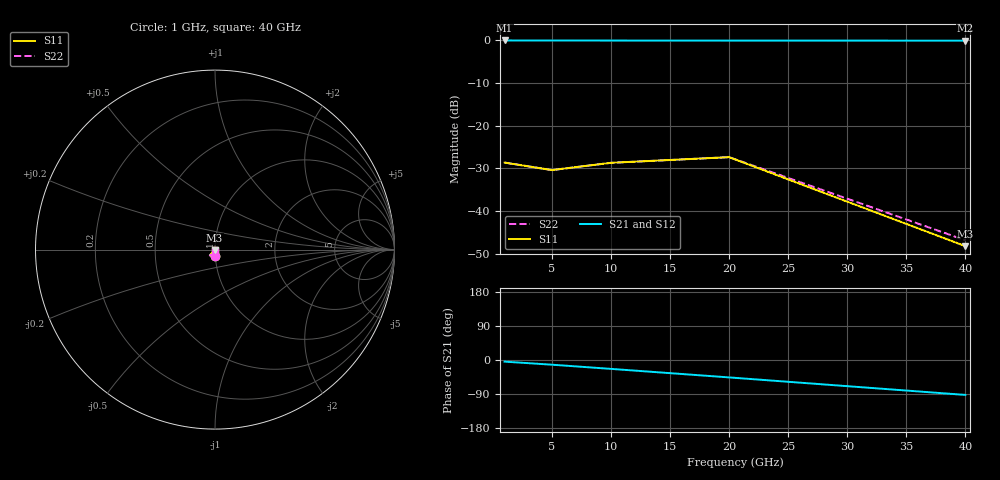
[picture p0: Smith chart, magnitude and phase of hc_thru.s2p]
! Generated by circuitRF - EM: Palace
! circuitRF-EM setup: hc_thru Palace
! circuitRF-EM layout: hc_thru.c3d
! circuitRF-EM written: 2026-11-04 16:30:50Z
! circuitRF-EM geometry: 47b0e7a829957d10
! circuitRF-EM mesh: be36879526fbbc1a
! circuitRF-EM ports: 15523109cf5d711b
! circuitRF-EM model: Palace 0.18.1 (0dc74cd, schema 1-7-0)
! Port[1] = P1
! Port[2] = P2
! circuitRF-EM port 1: 'port/1' from 'airbox/zmin' to 'metal1', wave (mode 1), 50 Ohm: Palace's S is referred to the mode's own impedance Z_PV, renormalised here to 50 Ohm; reference plane 0 um into the structure from the port face
! circuitRF-EM port 2: 'port/2' from 'airbox/zmin' to 'metal1', wave (mode 1), 50 Ohm: Palace's S is referred to the mode's own impedance Z_PV, renormalised here to 50 Ohm; reference plane 0 um into the structure from the port face
! circuitRF-EM 3D mesh: 10,726 elements initially, 10,726 finally, 0 adaptive pass(es), element order 2
! circuitRF-EM 3D operating temperature: 20 C
! circuitRF-EM 3D run: preset Standard; 10726 -> 10726 tetrahedra; 75942 unknowns; 0 refinement pass(es); 5 frequency sample(s)
! circuitRF-EM 3D run cost: wall 54 s; Palace peak memory 1.7 GB
! circuitRF-EM 3D DC row: circuitRF conduction solve of the conductors, 4,264 elements, 0.5 s; ports as terminal pairs
! circuitRF-EM: re-running the EM setup rewrites this file. If circuitRF reports it as stale, the layout's cross-section changed after this file was written.
# GHz S RI R 50
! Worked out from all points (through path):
!   5 points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, 1 GHz to 40 GHz, reference 50 ohm
!   highest |S21| = -0.01 dB at 1 GHz (marker M1); lowest = -0.1 dB at 40 GHz (marker M2)
!   lowest |S11| = -48.2 dB at 40 GHz (marker M3), VSWR 1.01, Z = 49.7 - j0.287 ohm
!   |S11| at or under -10 dB: start of sweep to end of sweep
!   |S22| runs from -46.8 to -27.4 dB; largest |S21 - S12| = 9.7e-06
1  -0.00158 -0.037  0.9964 -0.0748  0.9964 -0.0748  -0.00158 -0.037
5  -0.00482 -0.0298  0.9748 -0.214  0.9748 -0.214  -0.00481 -0.0298
10  -0.0125 -0.0346  0.9146 -0.3965  0.9146 -0.3965  -0.0124 -0.0346
20  -0.0286 -0.0319  0.6919 -0.7153  0.6919 -0.7153  -0.0285 -0.0321
40  -0.00259 -0.00288  -0.0373 -0.9933  -0.0373 -0.9933  -0.00262 -0.00372
